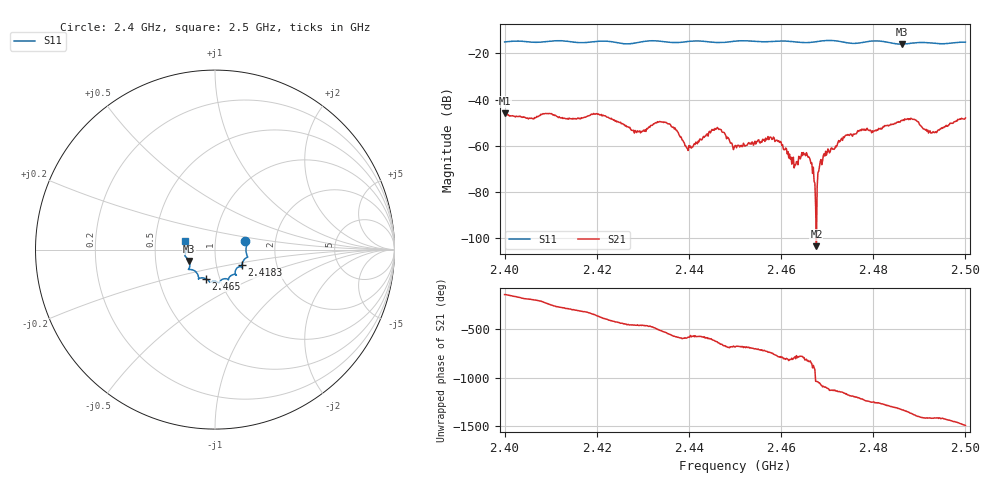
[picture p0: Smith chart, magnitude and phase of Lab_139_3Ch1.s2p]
# Hz S RI R 50
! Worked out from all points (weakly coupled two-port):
!   601 points, 2.4 GHz to 2.5 GHz, reference 50 ohm
!   highest |S21| = -45.93 dB at 2.4 GHz (marker M1); lowest = -103.3 dB at 2.4677 GHz (marker M2)
!   lowest |S11| = -16.1 dB at 2.4862 GHz (marker M3), VSWR 1.37, Z = 37.2 - j4.82 ohm
!   |S11| at or under -10 dB: start of sweep to end of sweep
!   S12 and S22 are empty: the file has one direction only
!   S11 on the Smith chart (normalised r, x): 2.4 GHz: 1.40, +0.13; 2.4183 GHz: 1.33, -0.24; 2.465 GHz: 0.86, -0.29; 2.5 GHz: 0.71, +0.07
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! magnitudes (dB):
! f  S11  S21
! 2.4 GHz  -15.1  -45.9
! 2.4167 GHz  -15.4  -47.8
! 2.4183 GHz  -15.2  -47.0
! 2.4287 GHz  -15.5  -54.3
! 2.4333 GHz  -14.7  -49.8
! 2.437 GHz  -15.4  -52.3
! 2.4397 GHz  -15.0  -61.3
! 2.4462 GHz  -15.4  -52.1
! 2.45 GHz  -14.8  -59.9
! 2.458 GHz  -14.9  -57.2
! 2.4628 GHz  -15.0  -69.5
! 2.465 GHz  -15.4  -63.5
! 2.4667 GHz  -15.3  -67.4
! 2.4677 GHz  -15.0  -103.3
! 2.4688 GHz  -14.7  -68.1
! 2.4697 GHz  -14.5  -62.4
! 2.474 GHz  -15.3  -55.5
! 2.4833 GHz  -15.3  -51.4
! 2.4862 GHz  -16.1  -49.0
! 2.4887 GHz  -15.6  -48.6
! 2.493 GHz  -15.6  -53.9
! 2.5 GHz  -15.2  -48.0
